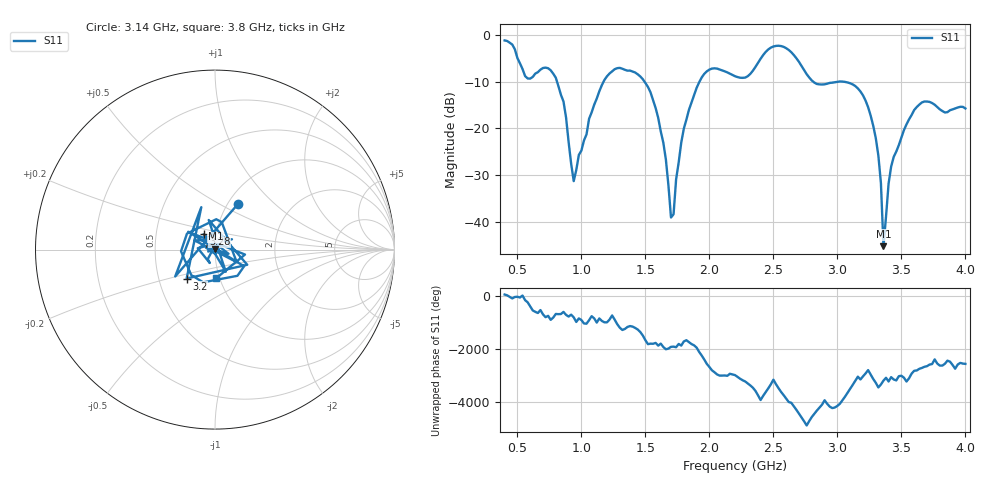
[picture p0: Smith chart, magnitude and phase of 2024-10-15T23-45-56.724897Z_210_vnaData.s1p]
! Created with skrf (http://scikit-rf.org).
# Hz S RI R 50.0
!freq ReS11 ImS11
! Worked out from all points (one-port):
!   181 points, 400 MHz to 4 GHz, reference 50 ohm
!   lowest |S11| = -45.1 dB at 3.36 GHz (marker M1), VSWR 1.01, Z = 50.2 + j0.502 ohm
!   |S11| at or under -10 dB: 809.4 MHz to 1.173 GHz (363.9 MHz wide, 36.7 % of centre); 1.493 GHz to 1.923 GHz (429.7 MHz wide, 25.2 % of centre); 3.043 GHz to end of sweep (the widest 3 of 4)
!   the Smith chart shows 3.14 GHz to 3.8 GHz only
!   S11 on the Smith chart (normalised r, x): 3.14 GHz: 1.11, +0.61; 3.2 GHz: 0.69, -0.24; 3.28 GHz: 0.87, +0.15; 3.8 GHz: 0.96, -0.32
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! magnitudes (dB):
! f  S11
! 400 MHz  -1.2
! 580 MHz  -9.3
! 760 MHz  -7.6
! 860 MHz  -14.2
! 940 MHz  -31.2
! 1.14 GHz  -12.1
! 1.3 GHz  -7.1
! 1.54 GHz  -12.3
! 1.64 GHz  -23.0
! 1.7 GHz  -39.0
! 1.72 GHz  -38.3
! 1.76 GHz  -27.3
! 1.8 GHz  -20.1
! 1.94 GHz  -9.1
! 2.2 GHz  -8.8
! 2.5 GHz  -2.5
! 2.66 GHz  -4.3
! 2.84 GHz  -10.5
! 3.1 GHz  -10.4
! 3.14 GHz  -10.9
! 3.2 GHz  -12.9
! 3.28 GHz  -19.4
! 3.34 GHz  -31.6
! 3.36 GHz  -45.1
! 3.42 GHz  -28.1
! 3.56 GHz  -18.0
! 3.8 GHz  -15.9
! 4 GHz  -15.7
